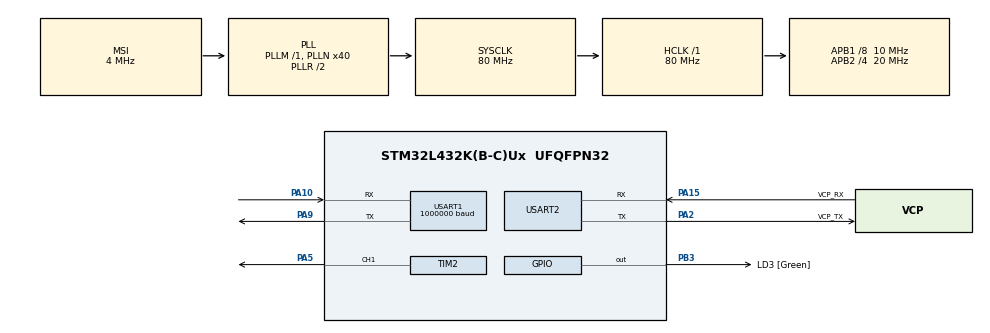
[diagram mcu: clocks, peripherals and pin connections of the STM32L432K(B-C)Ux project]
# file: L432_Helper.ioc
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Dma.Request0=USART1_RX
Dma.Request1=USART1_TX
Dma.USART1_RX.0.Direction=DMA_PERIPH_TO_MEMORY
Dma.USART1_RX.0.Instance=DMA1_Channel5
Dma.USART1_RX.0.MemDataAlignment=DMA_MDATAALIGN_BYTE
Dma.USART1_RX.0.MemInc=DMA_MINC_ENABLE
Dma.USART1_RX.0.Mode=DMA_NORMAL
Dma.USART1_RX.0.PeriphDataAlignment=DMA_PDATAALIGN_BYTE
Dma.USART1_RX.0.PeriphInc=DMA_PINC_DISABLE
Dma.USART1_RX.0.Priority=DMA_PRIORITY_LOW
Dma.USART1_TX.1.Direction=DMA_MEMORY_TO_PERIPH
Dma.USART1_TX.1.Instance=DMA1_Channel4
Dma.USART1_TX.1.MemDataAlignment=DMA_MDATAALIGN_BYTE
Dma.USART1_TX.1.MemInc=DMA_MINC_ENABLE
Dma.USART1_TX.1.Mode=DMA_NORMAL
Dma.USART1_TX.1.PeriphDataAlignment=DMA_PDATAALIGN_BYTE
Dma.USART1_TX.1.PeriphInc=DMA_PINC_DISABLE
Dma.USART1_TX.1.Priority=DMA_PRIORITY_LOW
FREERTOS.INCLUDE_vTaskDelayUntil=1
FREERTOS.MEMORY_ALLOCATION=2
FREERTOS.Mutexes01=dataTableLock,Static,dataTableLockControlBlock
FREERTOS.Queues01=commandQ,1,uint8_t,0,Static,commandQBuffer,commandQControlBlock
FREERTOS.Tasks01=defaultTask,0,128,StartDefaultTask,Default,NULL,Dynamic,NULL,NULL;RX,3,512,StartRX,As external,NULL,Static,RXBuffer,RXControlBlock;TX,2,512,StartTX,As external,NULL,Static,TXBuffer,TXControlBlock;Control,1,128,StartControlTask,As external,NULL,Static,ControlBuffer,ControlControlBlock;Sensor,0,128,StartSensorTask,As external,NULL,Static,SensorBuffer,SensorControlBlock
Mcu.Family=STM32L4
Mcu.Name=STM32L432K(B-C)Ux
Mcu.Package=UFQFPN32
NVIC.DMA1_Channel4_IRQn=true\:5\:0\:false\:false\:true\:true\:false
NVIC.DMA1_Channel5_IRQn=true\:5\:0\:false\:false\:true\:true\:false
NVIC.PriorityGroup=NVIC_PRIORITYGROUP_4
NVIC.TIM1_UP_TIM16_IRQn=true\:0\:0\:false\:false\:true\:false\:false
NVIC.TimeBase=TIM1_UP_TIM16_IRQn
NVIC.TimeBaseIP=TIM1
NVIC.USART1_IRQn=true\:5\:0\:false\:false\:true\:true\:true
PA0.GPIO_Label=MCO [High speed clock in]
PA0.Mode=HSE-External-Clock-Source-for-LittleOrca
PA0.Signal=RCC_CK_IN
PA10.Mode=Asynchronous
PA10.Signal=USART1_RX
PA13\ (JTMS-SWDIO).GPIO_Label=SWDIO
PA13\ (JTMS-SWDIO).Mode=Serial_Wire
PA13\ (JTMS-SWDIO).Signal=SYS_JTMS-SWDIO
PA14\ (JTCK-SWCLK).GPIO_Label=SWCLK
PA14\ (JTCK-SWCLK).Mode=Serial_Wire
PA14\ (JTCK-SWCLK).Signal=SYS_JTCK-SWCLK
PA15\ (JTDI).GPIO_Label=VCP_RX
PA15\ (JTDI).Mode=Asynchronous
PA15\ (JTDI).Signal=USART2_RX
PA2.GPIO_Label=VCP_TX
PA2.Mode=Asynchronous
PA2.Signal=USART2_TX
PA5.Signal=S_TIM2_CH1
PA9.Mode=Asynchronous
PA9.Signal=USART1_TX
PB3\ (JTDO-TRACESWO).GPIO_Label=LD3 [Green]
PB3\ (JTDO-TRACESWO).Signal=GPIO_Output
PC14-OSC32_IN\ (PC14).Mode=LSE-External-Oscillator
PC14-OSC32_IN\ (PC14).Signal=RCC_OSC32_IN
PC15-OSC32_OUT\ (PC15).Mode=LSE-External-Oscillator
PC15-OSC32_OUT\ (PC15).Signal=RCC_OSC32_OUT
ProjectManager.HeapSize=0x200
ProjectManager.StackSize=0x400
ProjectManager.TargetToolchain=SW4STM32
RCC.AHBFreq_Value=80000000
RCC.APB1CLKDivider=RCC_HCLK_DIV8
RCC.APB1Freq_Value=10000000
RCC.APB1TimFreq_Value=20000000
RCC.APB2CLKDivider=RCC_HCLK_DIV4
RCC.APB2Freq_Value=20000000
RCC.APB2TimFreq_Value=40000000
RCC.CortexFreq_Value=80000000
RCC.HCLKFreq_Value=80000000
RCC.HSE_VALUE=8000000
RCC.HSI16_VALUE=16000000
RCC.HSI48_VALUE=48000000
RCC.HSI_VALUE=16000000
RCC.MSI_VALUE=4000000
RCC.PLLMUL=RCC_PLLMUL_4
RCC.PLLN=40
RCC.SYSCLKFreq_VALUE=80000000
RCC.SYSCLKSource=RCC_SYSCLKSOURCE_PLLCLK
RCC.VCOOutputFreq_Value=160000000
SH.S_TIM2_CH1.0=TIM2_CH1,PWM Generation1 CH1
TIM16.Period=100
TIM16.Prescaler=39
TIM2.Channel-PWM\ Generation1\ CH1=TIM_CHANNEL_1
TIM2.Period=66666
TIM2.Pulse-PWM\ Generation1\ CH1=10000
USART1.BaudRate=1000000
USART1.DMADisableonRxErrorParam=ADVFEATURE_DMA_DISABLEONRXERROR
USART1.OverrunDisableParam=ADVFEATURE_OVERRUN_DISABLE
USART1.VirtualMode-Asynchronous=VM_ASYNC
USART2.VirtualMode-Asynchronous=VM_ASYNC
VP_FREERTOS_VS_ENABLE.Mode=Enabled
VP_SYS_VS_tim1.Mode=TIM1
VP_TIM16_VS_ClockSourceINT.Mode=Enable_Timer
VP_TIM16_VS_OPM.Mode=OPM_bit
VP_TIM2_VS_ClockSourceINT.Mode=Internal
board=NUCLEO-L432KC

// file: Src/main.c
/**
  ******************************************************************************
  * @file           : main.c
  * @brief          : Main program body
  ******************************************************************************
  * This notice applies to any and all portions of this file
  * that are not between comment pairs USER CODE BEGIN and
  * USER CODE END. Other portions of this file, whether
  * inserted by the user or by software development tools
  * are owned by their respective copyright owners.
  *
  * Copyright (c) 2018 STMicroelectronics International N.V.
  * All rights reserved.
  *
  * Redistribution and use in source and binary forms, with or without
  * modification, are permitted, provided that the following conditions are met:
  *
  * 1. Redistribution of source code must retain the above copyright notice,
  *    this list of conditions and the following disclaimer.
  * 2. Redistributions in binary form must reproduce the above copyright notice,
  *    this list of conditions and the following disclaimer in the documentation
  *    and/or other materials provided with the distribution.
  * 3. Neither the name of STMicroelectronics nor the names of other
  *    contributors to this software may be used to endorse or promote products
  *    derived from this software without specific written permission.
  * 4. This software, including modifications and/or derivative works of this
  *    software, must execute solely and exclusively on microcontroller or
  *    microprocessor devices manufactured by or for STMicroelectronics.
  * 5. Redistribution and use of this software other than as permitted under
  *    this license is void and will automatically terminate your rights under
  *    this license.
  *
  * THIS SOFTWARE IS PROVIDED BY STMICROELECTRONICS AND CONTRIBUTORS "AS IS"
  * AND ANY EXPRESS, IMPLIED OR STATUTORY WARRANTIES, INCLUDING, BUT NOT
  * LIMITED TO, THE IMPLIED WARRANTIES OF MERCHANTABILITY, FITNESS FOR A
  * PARTICULAR PURPOSE AND NON-INFRINGEMENT OF THIRD PARTY INTELLECTUAL PROPERTY
  * RIGHTS ARE DISCLAIMED TO THE FULLEST EXTENT PERMITTED BY LAW. IN NO EVENT
  * SHALL STMICROELECTRONICS OR CONTRIBUTORS BE LIABLE FOR ANY DIRECT, INDIRECT,
  * INCIDENTAL, SPECIAL, EXEMPLARY, OR CONSEQUENTIAL DAMAGES (INCLUDING, BUT NOT
  * LIMITED TO, PROCUREMENT OF SUBSTITUTE GOODS OR SERVICES; LOSS OF USE, DATA,
  * OR PROFITS; OR BUSINESS INTERRUPTION) HOWEVER CAUSED AND ON ANY THEORY OF
  * LIABILITY, WHETHER IN CONTRACT, STRICT LIABILITY, OR TORT (INCLUDING
  * NEGLIGENCE OR OTHERWISE) ARISING IN ANY WAY OUT OF THE USE OF THIS SOFTWARE,
  * EVEN IF ADVISED OF THE POSSIBILITY OF SUCH DAMAGE.
  *
  ******************************************************************************
  */
#include "main.h"
#include "stm32l4xx_hal.h"
#include "cmsis_os.h"
#include "dma.h"
#include "tim.h"
#include "usart.h"
#include "gpio.h"

/* USER CODE BEGIN Includes */
#include "App/app_tx.h"
/* USER CODE END Includes */

/* USER CODE BEGIN PV */
/* Private variables ---------------------------------------------------------*/

/* USER CODE END PV */

void SystemClock_Config(void);
void MX_FREERTOS_Init(void);

/* USER CODE BEGIN PFP */
/* Private function prototypes -----------------------------------------------*/

/* USER CODE END PFP */

int main(void)
{

  /* MCU Configuration----------------------------------------------------------*/

  /* Reset of all peripherals, Initializes the Flash interface and the Systick. */
  HAL_Init();

  /* Configure the system clock */
  SystemClock_Config();

  /* Initialize all configured peripherals */
  MX_GPIO_Init();
  MX_DMA_Init();
  MX_USART2_UART_Init();
  MX_USART1_UART_Init();
  MX_TIM16_Init();
  MX_TIM2_Init();

  /* Call init function for freertos objects (in freertos.c) */
  MX_FREERTOS_Init();

  /* Start scheduler */
  osKernelStart();

  /* We should never get here as control is now taken by the scheduler */

  /* Infinite loop */
  while (1)
  {

  }

}

void SystemClock_Config(void)
{

  RCC_OscInitTypeDef RCC_OscInitStruct;
  RCC_ClkInitTypeDef RCC_ClkInitStruct;
  RCC_PeriphCLKInitTypeDef PeriphClkInit;

    /**Configure LSE Drive Capability
    */
  HAL_PWR_EnableBkUpAccess();

  __HAL_RCC_LSEDRIVE_CONFIG(RCC_LSEDRIVE_LOW);

    /**Initializes the CPU, AHB and APB busses clocks
    */
  RCC_OscInitStruct.OscillatorType = RCC_OSCILLATORTYPE_LSE|RCC_OSCILLATORTYPE_MSI;
  RCC_OscInitStruct.LSEState = RCC_LSE_ON;
  RCC_OscInitStruct.MSIState = RCC_MSI_ON;
  RCC_OscInitStruct.MSICalibrationValue = 0;
  RCC_OscInitStruct.MSIClockRange = RCC_MSIRANGE_6;
  RCC_OscInitStruct.PLL.PLLState = RCC_PLL_ON;
  RCC_OscInitStruct.PLL.PLLSource = RCC_PLLSOURCE_MSI;
  RCC_OscInitStruct.PLL.PLLM = 1;
  RCC_OscInitStruct.PLL.PLLN = 40;
  RCC_OscInitStruct.PLL.PLLP = RCC_PLLP_DIV7;
  RCC_OscInitStruct.PLL.PLLQ = RCC_PLLQ_DIV2;
  RCC_OscInitStruct.PLL.PLLR = RCC_PLLR_DIV2;
  if (HAL_RCC_OscConfig(&RCC_OscInitStruct) != HAL_OK)
  {
    _Error_Handler(__FILE__, __LINE__);
  }

    /**Initializes the CPU, AHB and APB busses clocks
    */
  RCC_ClkInitStruct.ClockType = RCC_CLOCKTYPE_HCLK|RCC_CLOCKTYPE_SYSCLK
                              |RCC_CLOCKTYPE_PCLK1|RCC_CLOCKTYPE_PCLK2;
  RCC_ClkInitStruct.SYSCLKSource = RCC_SYSCLKSOURCE_PLLCLK;
  RCC_ClkInitStruct.AHBCLKDivider = RCC_SYSCLK_DIV1;
  RCC_ClkInitStruct.APB1CLKDivider = RCC_HCLK_DIV8;
  RCC_ClkInitStruct.APB2CLKDivider = RCC_HCLK_DIV4;

  if (HAL_RCC_ClockConfig(&RCC_ClkInitStruct, FLASH_LATENCY_4) != HAL_OK)
  {
    _Error_Handler(__FILE__, __LINE__);
  }

  PeriphClkInit.PeriphClockSelection = RCC_PERIPHCLK_USART1|RCC_PERIPHCLK_USART2;
  PeriphClkInit.Usart1ClockSelection = RCC_USART1CLKSOURCE_PCLK2;
  PeriphClkInit.Usart2ClockSelection = RCC_USART2CLKSOURCE_PCLK1;
  if (HAL_RCCEx_PeriphCLKConfig(&PeriphClkInit) != HAL_OK)
  {
    _Error_Handler(__FILE__, __LINE__);
  }

    /**Configure the main internal regulator output voltage
    */
  if (HAL_PWREx_ControlVoltageScaling(PWR_REGULATOR_VOLTAGE_SCALE1) != HAL_OK)
  {
    _Error_Handler(__FILE__, __LINE__);
  }

    /**Configure the Systick interrupt time
    */
  HAL_SYSTICK_Config(HAL_RCC_GetHCLKFreq()/1000);

    /**Configure the Systick
    */
  HAL_SYSTICK_CLKSourceConfig(SYSTICK_CLKSOURCE_HCLK);

    /**Enable MSI Auto calibration
    */
  HAL_RCCEx_EnableMSIPLLMode();

  /* SysTick_IRQn interrupt configuration */
  HAL_NVIC_SetPriority(SysTick_IRQn, 15, 0);
}

void HAL_TIM_PeriodElapsedCallback(TIM_HandleTypeDef *htim)
{
  if (htim->Instance == TIM1) {
    HAL_IncTick();
  }
  /* USER CODE BEGIN Callback 1 */
  else if(htim == &htim16){
      txTimerEventHandler();
  }
  /* USER CODE END Callback 1 */
}

void _Error_Handler(char *file, int line)
{
  while(1)
  {
  }
}

/************************ (C) COPYRIGHT STMicroelectronics *****END OF FILE****/

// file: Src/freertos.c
/**
  ******************************************************************************
  * File Name          : freertos.c
  * Description        : Code for freertos applications
  ******************************************************************************
  * This notice applies to any and all portions of this file
  * that are not between comment pairs USER CODE BEGIN and
  * USER CODE END. Other portions of this file, whether
  * inserted by the user or by software development tools
  * are owned by their respective copyright owners.
  *
  * Copyright (c) 2018 STMicroelectronics International N.V.
  * All rights reserved.
  *
  * Redistribution and use in source and binary forms, with or without
  * modification, are permitted, provided that the following conditions are met:
  *
  * 1. Redistribution of source code must retain the above copyright notice,
  *    this list of conditions and the following disclaimer.
  * 2. Redistributions in binary form must reproduce the above copyright notice,
  *    this list of conditions and the following disclaimer in the documentation
  *    and/or other materials provided with the distribution.
  * 3. Neither the name of STMicroelectronics nor the names of other
  *    contributors to this software may be used to endorse or promote products
  *    derived from this software without specific written permission.
  * 4. This software, including modifications and/or derivative works of this
  *    software, must execute solely and exclusively on microcontroller or
  *    microprocessor devices manufactured by or for STMicroelectronics.
  * 5. Redistribution and use of this software other than as permitted under
  *    this license is void and will automatically terminate your rights under
  *    this license.
  *
  * THIS SOFTWARE IS PROVIDED BY STMICROELECTRONICS AND CONTRIBUTORS "AS IS"
  * AND ANY EXPRESS, IMPLIED OR STATUTORY WARRANTIES, INCLUDING, BUT NOT
  * LIMITED TO, THE IMPLIED WARRANTIES OF MERCHANTABILITY, FITNESS FOR A
  * PARTICULAR PURPOSE AND NON-INFRINGEMENT OF THIRD PARTY INTELLECTUAL PROPERTY
  * RIGHTS ARE DISCLAIMED TO THE FULLEST EXTENT PERMITTED BY LAW. IN NO EVENT
  * SHALL STMICROELECTRONICS OR CONTRIBUTORS BE LIABLE FOR ANY DIRECT, INDIRECT,
  * INCIDENTAL, SPECIAL, EXEMPLARY, OR CONSEQUENTIAL DAMAGES (INCLUDING, BUT NOT
  * LIMITED TO, PROCUREMENT OF SUBSTITUTE GOODS OR SERVICES; LOSS OF USE, DATA,
  * OR PROFITS; OR BUSINESS INTERRUPTION) HOWEVER CAUSED AND ON ANY THEORY OF
  * LIABILITY, WHETHER IN CONTRACT, STRICT LIABILITY, OR TORT (INCLUDING
  * NEGLIGENCE OR OTHERWISE) ARISING IN ANY WAY OUT OF THE USE OF THIS SOFTWARE,
  * EVEN IF ADVISED OF THE POSSIBILITY OF SUCH DAMAGE.
  *
  ******************************************************************************
  */

#include "FreeRTOS.h"
#include "task.h"
#include "cmsis_os.h"

/* USER CODE BEGIN Includes */
#include "App/app_rx.h"
#include "App/app_tx.h"
#include "App/app_control.h"
#include "App/app_sensing.h"
#include "data_table.h"
#include "helpers.h"
/* USER CODE END Includes */

osThreadId defaultTaskHandle;
osThreadId RXHandle;
uint32_t RXBuffer[ 512 ];
osStaticThreadDef_t RXControlBlock;
osThreadId TXHandle;
uint32_t TXBuffer[ 512 ];
osStaticThreadDef_t TXControlBlock;
osThreadId ControlHandle;
uint32_t ControlBuffer[ 128 ];
osStaticThreadDef_t ControlControlBlock;
osThreadId SensorHandle;
uint32_t SensorBuffer[ 128 ];
osStaticThreadDef_t SensorControlBlock;
osMessageQId commandQHandle;
uint8_t commandQBuffer[ 1 * sizeof( uint8_t ) ];
osStaticMessageQDef_t commandQControlBlock;
osMutexId dataTableLockHandle;
osStaticMutexDef_t dataTableLockControlBlock;

void StartDefaultTask(void const * argument);
extern void StartRX(void const * argument);
extern void StartTX(void const * argument);
extern void StartControlTask(void const * argument);
extern void StartSensorTask(void const * argument);

void MX_FREERTOS_Init(void); /* (MISRA C 2004 rule 8.1) */

/* GetIdleTaskMemory prototype (linked to static allocation support) */
void vApplicationGetIdleTaskMemory( StaticTask_t **ppxIdleTaskTCBBuffer, StackType_t **ppxIdleTaskStackBuffer, uint32_t *pulIdleTaskStackSize );

/* Hook prototypes */

/* USER CODE BEGIN GET_IDLE_TASK_MEMORY */
static StaticTask_t xIdleTaskTCBBuffer;
static StackType_t xIdleStack[configMINIMAL_STACK_SIZE];

void vApplicationGetIdleTaskMemory( StaticTask_t **ppxIdleTaskTCBBuffer, StackType_t **ppxIdleTaskStackBuffer, uint32_t *pulIdleTaskStackSize )
{
  *ppxIdleTaskTCBBuffer = &xIdleTaskTCBBuffer;
  *ppxIdleTaskStackBuffer = &xIdleStack[0];
  *pulIdleTaskStackSize = configMINIMAL_STACK_SIZE;
  /* place for user code */
}
/* USER CODE END GET_IDLE_TASK_MEMORY */

/* Init FreeRTOS */

void MX_FREERTOS_Init(void) {

  /* Create the mutex(es) */
  /* definition and creation of dataTableLock */
  osMutexStaticDef(dataTableLock, &dataTableLockControlBlock);
  dataTableLockHandle = osMutexCreate(osMutex(dataTableLock));

  /* Create the thread(s) */
  /* definition and creation of defaultTask */
  osThreadDef(defaultTask, StartDefaultTask, osPriorityNormal, 0, 128);
  defaultTaskHandle = osThreadCreate(osThread(defaultTask), NULL);

  /* definition and creation of RX */
  osThreadStaticDef(RX, StartRX, osPriorityRealtime, 0, 512, RXBuffer, &RXControlBlock);
  RXHandle = osThreadCreate(osThread(RX), NULL);

  /* definition and creation of TX */
  osThreadStaticDef(TX, StartTX, osPriorityHigh, 0, 512, TXBuffer, &TXControlBlock);
  TXHandle = osThreadCreate(osThread(TX), NULL);

  /* definition and creation of Control */
  osThreadStaticDef(Control, StartControlTask, osPriorityAboveNormal, 0, 128, ControlBuffer, &ControlControlBlock);
  ControlHandle = osThreadCreate(osThread(Control), NULL);

  /* definition and creation of Sensor */
  osThreadStaticDef(Sensor, StartSensorTask, osPriorityNormal, 0, 128, SensorBuffer, &SensorControlBlock);
  SensorHandle = osThreadCreate(osThread(Sensor), NULL);

  /* Create the queue(s) */
  /* definition and creation of commandQ */
  osMessageQStaticDef(commandQ, 1, uint8_t, commandQBuffer, &commandQControlBlock);
  commandQHandle = osMessageCreate(osMessageQ(commandQ), NULL);

}

/* StartDefaultTask function */
void StartDefaultTask(void const * argument)
{

  for(;;)
  {
    osDelay(1);
  }
}

/* USER CODE BEGIN Application */
void StartRX(void const * argument){
    // ONE-TIME APPLICATION INIT CODE SINCE THIS IS THE HIGHEST-PRIORITY TASK
    initDataTable();
    setOsStartFlag();

    bool statusIsOkay;
    for(;;){
        statusIsOkay = receive();

        if(statusIsOkay){
            processData();
        }
    }
}

void StartTX(void const * argument){
    uint8_t addressToRead;
    for(;;){
        while(
            xQueueReceive(
                commandQHandle,
                &addressToRead,
                pdMS_TO_TICKS(1)
            ) != pdTRUE
        );

        updateBufferContents(addressToRead);

        transmitBufferContents();
    }
}

void StartControlTask(void const * argument){
    TickType_t xLastWakeTime;
    xLastWakeTime = xTaskGetTickCount();

    controlInit();

    for(;;){
        // Service this task once every ms
        vTaskDelayUntil(
            &xLastWakeTime,
            pdMS_TO_TICKS(1)
        );

        controlUpdateStateVariables();

        controlUpdateSignals();
    }
}

void StartSensorTask(void const * argument){
    TickType_t xLastWakeTime;
    xLastWakeTime = xTaskGetTickCount();

    for(;;){
        // Service this task once every ms
        vTaskDelayUntil(
            &xLastWakeTime,
            pdMS_TO_TICKS(1)
        );

        sensorUpdate();
    }
}

/* USER CODE END Application */

/************************ (C) COPYRIGHT STMicroelectronics *****END OF FILE****/
